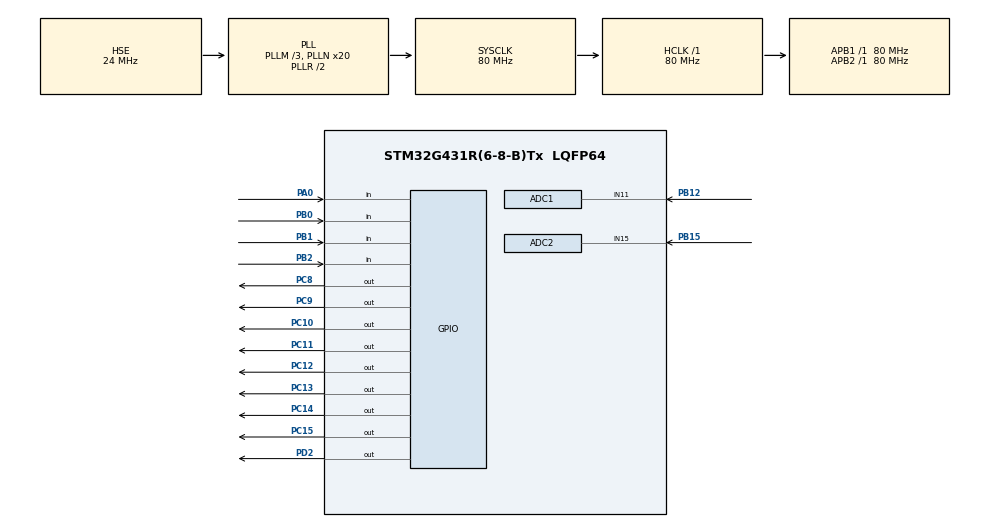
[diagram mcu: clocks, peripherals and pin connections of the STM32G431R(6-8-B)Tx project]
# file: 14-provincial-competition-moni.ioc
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ADC1.Channel-0\#ChannelRegularConversion=ADC_CHANNEL_11
ADC1.NbrOfConversionFlag=1
ADC1.OffsetNumber-0\#ChannelRegularConversion=ADC_OFFSET_NONE
ADC1.Rank-0\#ChannelRegularConversion=1
ADC1.SamplingTime-0\#ChannelRegularConversion=ADC_SAMPLETIME_2CYCLES_5
ADC1.master=1
ADC2.Channel-0\#ChannelRegularConversion=ADC_CHANNEL_15
ADC2.NbrOfConversionFlag=1
ADC2.OffsetNumber-0\#ChannelRegularConversion=ADC_OFFSET_NONE
ADC2.Rank-0\#ChannelRegularConversion=1
ADC2.SamplingTime-0\#ChannelRegularConversion=ADC_SAMPLETIME_2CYCLES_5
Mcu.Family=STM32G4
Mcu.Name=STM32G431R(6-8-B)Tx
Mcu.Package=LQFP64
NVIC.PriorityGroup=NVIC_PRIORITYGROUP_4
NVIC.TIM2_IRQn=true\:0\:0\:false\:false\:true\:true\:true\:true
PA0.GPIO_Mode=GPIO_MODE_INPUT
PA0.GPIO_PuPd=GPIO_PULLUP
PA0.Signal=GPIO_Input
PA13.Mode=Serial_Wire
PA13.Signal=SYS_JTMS-SWDIO
PA14.Mode=Serial_Wire
PA14.Signal=SYS_JTCK-SWCLK
PB0.GPIO_Mode=GPIO_MODE_INPUT
PB0.GPIO_PuPd=GPIO_PULLUP
PB0.Signal=GPIO_Input
PB1.GPIO_Mode=GPIO_MODE_INPUT
PB1.GPIO_PuPd=GPIO_PULLUP
PB1.Signal=GPIO_Input
PB12.Mode=IN11-Single-Ended
PB12.Signal=ADC1_IN11
PB15.Mode=IN15-Single-Ended
PB15.Signal=ADC2_IN15
PB2.GPIO_Mode=GPIO_MODE_INPUT
PB2.GPIO_PuPd=GPIO_PULLUP
PB2.Signal=GPIO_Input
PC10.PinState=GPIO_PIN_SET
PC10.Signal=GPIO_Output
PC11.PinState=GPIO_PIN_SET
PC11.Signal=GPIO_Output
PC12.PinState=GPIO_PIN_SET
PC12.Signal=GPIO_Output
PC13.PinState=GPIO_PIN_SET
PC13.Signal=GPIO_Output
PC14-OSC32_IN.PinState=GPIO_PIN_SET
PC14-OSC32_IN.Signal=GPIO_Output
PC15-OSC32_OUT.PinState=GPIO_PIN_SET
PC15-OSC32_OUT.Signal=GPIO_Output
PC8.PinState=GPIO_PIN_SET
PC8.Signal=GPIO_Output
PC9.PinState=GPIO_PIN_SET
PC9.Signal=GPIO_Output
PD2.Signal=GPIO_Output
PF0-OSC_IN.Mode=HSE-External-Oscillator
PF0-OSC_IN.Signal=RCC_OSC_IN
PF1-OSC_OUT.Mode=HSE-External-Oscillator
PF1-OSC_OUT.Signal=RCC_OSC_OUT
ProjectManager.HeapSize=0x200
ProjectManager.StackSize=0x400
ProjectManager.TargetToolchain=MDK-ARM V5.32
RCC.ADC12Freq_Value=80000000
RCC.AHBFreq_Value=80000000
RCC.APB1Freq_Value=80000000
RCC.APB1TimFreq_Value=80000000
RCC.APB2Freq_Value=80000000
RCC.APB2TimFreq_Value=80000000
RCC.CortexFreq_Value=80000000
RCC.EXTERNAL_CLOCK_VALUE=12288000
RCC.HCLKFreq_Value=80000000
RCC.HSE_VALUE=24000000
RCC.HSI48_VALUE=48000000
RCC.HSI_VALUE=16000000
RCC.LSE_VALUE=32768
RCC.PLLM=RCC_PLLM_DIV3
RCC.PLLN=20
RCC.PLLSourceVirtual=RCC_PLLSOURCE_HSE
RCC.SYSCLKFreq_VALUE=80000000
RCC.SYSCLKSource=RCC_SYSCLKSOURCE_PLLCLK
RCC.USBFreq_Value=80000000
RCC.VCOOutputFreq_Value=160000000
TIM2.PeriodNoDither=10000-1
TIM2.Prescaler=800-1
VP_SYS_VS_DBSignals.Mode=DisableDeadBatterySignals
VP_TIM2_VS_ClockSourceINT.Mode=Internal
board=custom

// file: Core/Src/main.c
/* USER CODE BEGIN Header */
/**
  ******************************************************************************
  * @file           : main.c
  * @brief          : Main program body
  ******************************************************************************
  * @attention
  *
  * Copyright (c) 2025 STMicroelectronics.
  * All rights reserved.
  *
  * This software is licensed under terms that can be found in the LICENSE file
  * in the root directory of this software component.
  * If no LICENSE file comes with this software, it is provided AS-IS.
  *
  ******************************************************************************
  */
/* USER CODE END Header */
#include "main.h"
#include "adc.h"
#include "tim.h"
#include "gpio.h"

/* USER CODE BEGIN Includes */
#include "stdint.h"
#include "stdio.h"
#include "string.h"
#include "lcd.h"
#include "i2c_hal.h"
/* USER CODE END Includes */

/* USER CODE BEGIN PV */
char text[20];
double V37, V38, res, V37_active=-1, V38_active=-1;
uint8_t page=0, mode=0, r37_flag, r38_flag;
uint8_t key_val,key_up,key_down,key_last_val;
uint8_t led1_flag, led2_flag, led3_flag;
/* USER CODE END PV */

void SystemClock_Config(void);
/* USER CODE BEGIN PFP */
void LCD_Proc(void);
void LED_Proc(void);
void KEY_Proc(void);
/* USER CODE END PFP */

int main(void)
{

  /* MCU Configuration--------------------------------------------------------*/

  /* Reset of all peripherals, Initializes the Flash interface and the Systick. */
  HAL_Init();

  /* Configure the system clock */
  SystemClock_Config();

  /* Initialize all configured peripherals */
  MX_GPIO_Init();
  MX_ADC1_Init();
  MX_ADC2_Init();
  MX_TIM2_Init();
  /* USER CODE BEGIN 2 */
    // LCD
    LCD_Init();
    LCD_Clear(Black);
    LCD_SetBackColor(Black);
    LCD_SetTextColor(White);
    // ADC
    HAL_ADCEx_Calibration_Start(&hadc1, ADC_SINGLE_ENDED);
    HAL_ADCEx_Calibration_Start(&hadc2, ADC_SINGLE_ENDED);
    // TIM
    TIM2->CNT=0;
    // I2C
    I2CInit();
    mode=EEPROM_Read(0);
  /* USER CODE END 2 */

  /* Infinite loop */
  /* USER CODE BEGIN WHILE */
  while (1)
  {
      LCD_Proc();
      LED_Proc();
      KEY_Proc();
      if(r37_flag&&r38_flag){
          if(mode==0) res=V37_active-V38_active;
          if(mode==1) res=V37_active+V38_active;
          if(res>6.0){
              HAL_TIM_Base_Start_IT(&htim2);
          }else{
              HAL_TIM_Base_Stop_IT(&htim2);
              TIM2->CNT=0;
              led3_flag=0;
          }
      }
    /* USER CODE END WHILE */

  }
}

void SystemClock_Config(void)
{
  RCC_OscInitTypeDef RCC_OscInitStruct = {0};
  RCC_ClkInitTypeDef RCC_ClkInitStruct = {0};

  /** Configure the main internal regulator output voltage
  */
  HAL_PWREx_ControlVoltageScaling(PWR_REGULATOR_VOLTAGE_SCALE1);

  /** Initializes the RCC Oscillators according to the specified parameters
  * in the RCC_OscInitTypeDef structure.
  */
  RCC_OscInitStruct.OscillatorType = RCC_OSCILLATORTYPE_HSE;
  RCC_OscInitStruct.HSEState = RCC_HSE_ON;
  RCC_OscInitStruct.PLL.PLLState = RCC_PLL_ON;
  RCC_OscInitStruct.PLL.PLLSource = RCC_PLLSOURCE_HSE;
  RCC_OscInitStruct.PLL.PLLM = RCC_PLLM_DIV3;
  RCC_OscInitStruct.PLL.PLLN = 20;
  RCC_OscInitStruct.PLL.PLLP = RCC_PLLP_DIV2;
  RCC_OscInitStruct.PLL.PLLQ = RCC_PLLQ_DIV2;
  RCC_OscInitStruct.PLL.PLLR = RCC_PLLR_DIV2;
  if (HAL_RCC_OscConfig(&RCC_OscInitStruct) != HAL_OK)
  {
    Error_Handler();
  }

  /** Initializes the CPU, AHB and APB buses clocks
  */
  RCC_ClkInitStruct.ClockType = RCC_CLOCKTYPE_HCLK|RCC_CLOCKTYPE_SYSCLK
                              |RCC_CLOCKTYPE_PCLK1|RCC_CLOCKTYPE_PCLK2;
  RCC_ClkInitStruct.SYSCLKSource = RCC_SYSCLKSOURCE_PLLCLK;
  RCC_ClkInitStruct.AHBCLKDivider = RCC_SYSCLK_DIV1;
  RCC_ClkInitStruct.APB1CLKDivider = RCC_HCLK_DIV1;
  RCC_ClkInitStruct.APB2CLKDivider = RCC_HCLK_DIV1;

  if (HAL_RCC_ClockConfig(&RCC_ClkInitStruct, FLASH_LATENCY_2) != HAL_OK)
  {
    Error_Handler();
  }
}

/* USER CODE BEGIN 4 */
double Get_Vol(ADC_HandleTypeDef* hadc){
    HAL_ADC_Start(hadc);
    uint32_t temp = HAL_ADC_GetValue(hadc);
    return (temp*3.3)/4096;
}
void LCD_Proc(void){
    V37=Get_Vol(&hadc2);
    V38=Get_Vol(&hadc1);
    if(page==0){
        led1_flag=1;
        led2_flag=0;
        sprintf(text, "        DATA        ");
        LCD_DisplayStringLine(Line3, (uint8_t*)text);
        sprintf(text, "      R37:%.2fV     ", V37);
        LCD_DisplayStringLine(Line4, (uint8_t*)text);
        sprintf(text, "      R38:%.2fV     ", V38);
        LCD_DisplayStringLine(Line5, (uint8_t*)text);
    }else{
        led1_flag=0;
        led2_flag=1;
        sprintf(text, "        COU         ");
        LCD_DisplayStringLine(Line3, (uint8_t*)text);
        if(r37_flag && r38_flag)
            sprintf(text, "      RES:%.2fV     ", res);
        else
            sprintf(text, "      RES:Error     ");
        LCD_DisplayStringLine(Line4, (uint8_t*)text);
        sprintf(text, "      MODE:%d        ", mode);
        LCD_DisplayStringLine(Line5, (uint8_t*)text);
    }
}
uint8_t KEY_Scan(void){
    uint8_t key_value=0;
    if(HAL_GPIO_ReadPin(GPIOB, GPIO_PIN_0)==GPIO_PIN_RESET){
        key_value=1;
    }
    if(HAL_GPIO_ReadPin(GPIOB, GPIO_PIN_1)==GPIO_PIN_RESET){
        key_value=2;
    }
    if(HAL_GPIO_ReadPin(GPIOB, GPIO_PIN_2)==GPIO_PIN_RESET){
        key_value=3;
    }
    if(HAL_GPIO_ReadPin(GPIOA, GPIO_PIN_0)==GPIO_PIN_RESET){
        key_value=4;
    }
    return key_value;
}
void KEY_Proc(void){
    key_val=KEY_Scan();
    key_down=key_val&(key_val^key_last_val);
    key_up=~key_val&(key_val^key_last_val);
    key_last_val=key_val;
    if(key_down==1 && page==0){
        V37_active=V37;
        r37_flag=1;
    }
    if(key_down==2 && page==0){
        V38_active=V38;
        r38_flag=1;
    }
    if(key_down==3){
        page^=1;
    }
    if(key_down==4 && page==1){
        mode^=1;
        EEPROM_Write(0, mode);
    }
}
void LED_Show(uint8_t led, uint8_t mode){
    if(mode){
        HAL_GPIO_WritePin(GPIOC, led<<8, GPIO_PIN_RESET);
        HAL_GPIO_WritePin(GPIOD, GPIO_PIN_2, GPIO_PIN_SET);
        HAL_GPIO_WritePin(GPIOD, GPIO_PIN_2, GPIO_PIN_RESET);
    }else{
        HAL_GPIO_WritePin(GPIOC, led<<8, GPIO_PIN_SET);
        HAL_GPIO_WritePin(GPIOD, GPIO_PIN_2, GPIO_PIN_SET);
        HAL_GPIO_WritePin(GPIOD, GPIO_PIN_2, GPIO_PIN_RESET);
    }
}
void LED_Proc(void){
    LED_Show(0x01, led1_flag);
    LED_Show(0x02, led2_flag);
    LED_Show(0x04, led3_flag);
}
void HAL_TIM_PeriodElapsedCallback(TIM_HandleTypeDef *htim){
    if(htim->Instance==TIM2){
        led3_flag^=1;
    }
}
/* USER CODE END 4 */

void Error_Handler(void)
{
  __disable_irq();
  while (1)
  {
  }
}
